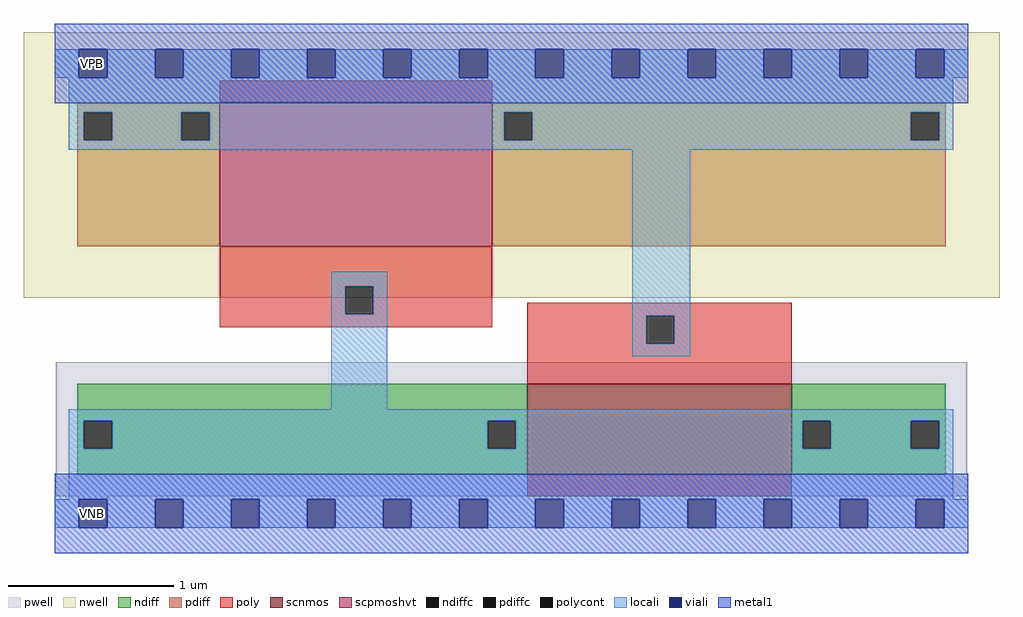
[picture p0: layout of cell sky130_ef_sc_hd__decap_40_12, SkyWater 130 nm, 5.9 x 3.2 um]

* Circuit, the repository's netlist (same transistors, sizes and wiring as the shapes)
* NGSPICE file created from sky130_ef_sc_hd__decap_40_12.ext - technology: sky130A

.subckt sky130_ef_sc_hd__decap_40_12 VNB VPB VGND VPWR
X0 VPWR VGND VPWR VPB sky130_fd_pr__pfet_01v8_hvt ad=0.7482 pd=3.46 as=3.132 ps=10.68 w=0.87 l=1.65
X1 VGND VPWR VGND VNB sky130_fd_pr__nfet_01v8 ad=1.496 pd=6.54 as=2.0075 ps=9.5 w=0.55 l=1.6
.ends

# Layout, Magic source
magic
tech sky130A
magscale 1 2
<< nwell >>
rect -38 261 1142 582
<< pwell >>
rect 1 21 1103 183
rect 29 -17 63 21
<< scnmos >>
rect 571 47 891 157
<< scpmoshvt >>
rect 199 323 529 497
<< ndiff >>
rect 27 112 571 157
rect 27 78 35 112
rect 69 78 523 112
rect 557 78 571 112
rect 27 47 571 78
rect 891 112 1077 157
rect 891 78 904 112
rect 938 78 1035 112
rect 1069 78 1077 112
rect 891 47 1077 78
<< pdiff >>
rect 27 485 199 497
rect 27 451 35 485
rect 69 451 153 485
rect 187 451 199 485
rect 27 323 199 451
rect 529 485 1077 497
rect 529 451 543 485
rect 577 451 1035 485
rect 1069 451 1077 485
rect 529 323 1077 451
<< ndiffc >>
rect 35 78 69 112
rect 523 78 557 112
rect 904 78 938 112
rect 1035 78 1069 112
<< pdiffc >>
rect 35 451 69 485
rect 153 451 187 485
rect 543 451 577 485
rect 1035 451 1069 485
<< poly >>
rect 199 497 529 523
rect 199 275 529 323
rect 199 241 351 275
rect 385 241 529 275
rect 199 225 529 241
rect 571 239 891 255
rect 571 205 715 239
rect 749 205 891 239
rect 571 157 891 205
rect 571 21 891 47
<< polycont >>
rect 351 241 385 275
rect 715 205 749 239
<< locali >>
rect 0 527 29 561
rect 63 527 121 561
rect 155 527 213 561
rect 247 527 305 561
rect 339 527 397 561
rect 431 527 489 561
rect 523 527 581 561
rect 615 527 673 561
rect 707 527 765 561
rect 799 527 857 561
rect 891 527 949 561
rect 983 527 1041 561
rect 1075 527 1104 561
rect 17 485 1086 527
rect 17 451 35 485
rect 69 451 153 485
rect 187 451 543 485
rect 577 451 1035 485
rect 1069 451 1086 485
rect 17 440 1086 451
rect 334 275 402 292
rect 334 241 351 275
rect 385 241 402 275
rect 334 126 402 241
rect 698 239 768 440
rect 698 205 715 239
rect 749 205 768 239
rect 698 190 768 205
rect 17 112 1086 126
rect 17 78 35 112
rect 69 78 523 112
rect 557 78 904 112
rect 938 78 1035 112
rect 1069 78 1086 112
rect 17 17 1086 78
rect 0 -17 29 17
rect 63 -17 121 17
rect 155 -17 213 17
rect 247 -17 305 17
rect 339 -17 397 17
rect 431 -17 489 17
rect 523 -17 581 17
rect 615 -17 673 17
rect 707 -17 765 17
rect 799 -17 857 17
rect 891 -17 949 17
rect 983 -17 1041 17
rect 1075 -17 1104 17
<< viali >>
rect 29 527 63 561
rect 121 527 155 561
rect 213 527 247 561
rect 305 527 339 561
rect 397 527 431 561
rect 489 527 523 561
rect 581 527 615 561
rect 673 527 707 561
rect 765 527 799 561
rect 857 527 891 561
rect 949 527 983 561
rect 1041 527 1075 561
rect 29 -17 63 17
rect 121 -17 155 17
rect 213 -17 247 17
rect 305 -17 339 17
rect 397 -17 431 17
rect 489 -17 523 17
rect 581 -17 615 17
rect 673 -17 707 17
rect 765 -17 799 17
rect 857 -17 891 17
rect 949 -17 983 17
rect 1041 -17 1075 17
<< metal1 >>
rect 0 561 1104 592
rect 0 527 29 561
rect 63 527 121 561
rect 155 527 213 561
rect 247 527 305 561
rect 339 527 397 561
rect 431 527 489 561
rect 523 527 581 561
rect 615 527 673 561
rect 707 527 765 561
rect 799 527 857 561
rect 891 527 949 561
rect 983 527 1041 561
rect 1075 527 1104 561
rect 0 496 1104 527
rect 0 17 1104 48
rect 0 -17 29 17
rect 63 -17 121 17
rect 155 -17 213 17
rect 247 -17 305 17
rect 339 -17 397 17
rect 431 -17 489 17
rect 523 -17 581 17
rect 615 -17 673 17
rect 707 -17 765 17
rect 799 -17 857 17
rect 891 -17 949 17
rect 983 -17 1041 17
rect 1075 -17 1104 17
rect 0 -48 1104 -17
<< labels >>
flabel pwell s 29 -17 63 17 0 FreeSans 200 0 0 0 VNB
port 2 nsew
flabel nwell s 29 527 63 561 0 FreeSans 200 0 0 0 VPB
port 3 nsew
flabel metal1 s 29 -17 63 17 0 FreeSans 200 0 0 0 VGND
port 4 nsew
flabel metal1 s 29 527 63 561 0 FreeSans 200 0 0 0 VPWR
port 5 nsew
rlabel comment s 0 0 0 0 4 decap_40_12
<< properties >>
string FIXED_BBOX 0 0 1104 544
string GDS_END 3970582
string GDS_FILE $PDKPATH/libs.ref/sky130_fd_sc_hd/gds/sky130_fd_sc_hd.gds
string GDS_START 3966600
string MASKHINTS_HVTP 0 250 1104 287 565 287 1104 533 0 287 163 533 0 533 1104 544
string MASKHINTS_NPC 769 185 1104 259 0 185 695 221 405 221 695 259 405 259 1104 295 0 221 331 295
string MASKHINTS_NSDM 0 -38 1104 22 1102 22 1104 182 0 22 2 182 0 182 1104 203
string MASKHINTS_PSDM 0 297 1104 298 1102 298 1104 522 0 298 2 522 0 522 1104 582
string path 0.000 0.000 27.600 0.000 
<< end >>
